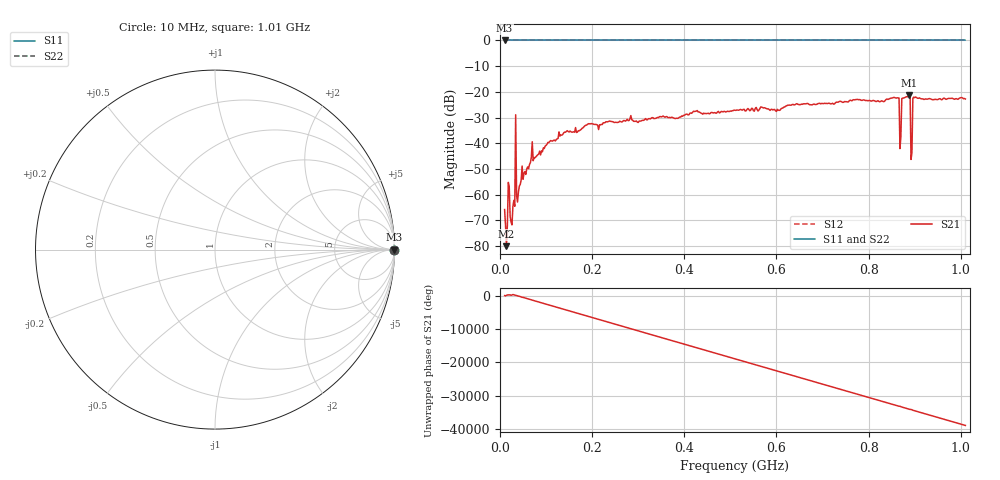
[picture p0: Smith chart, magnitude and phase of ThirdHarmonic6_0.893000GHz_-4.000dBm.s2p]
! 8/16/2025 5:19:50 AM
! C:\ANRITSUVNA\TEMP\TEMP.S2P
! CHANNEL.1
! TR.MEASUREMENT
! RAW.DATA
! RF.CORRECTION.OFF
! AVERAGING.OFF
! IF.BANDWIDTH: 5KHZ
! SWEEPTYPE:  FREQ.SWEEP(Linear)
! Reference Plane Port Info
! PORT:  PORT1  PORT2
! DISTANCE:  0  m  0  m
! TIME:  0  s  0  s
! PHASE.OFFSET:  0  deg.  0  deg.
! LOSS:  0  dB  0  dB
! REF.LOSS:  0  dB  0  dB
! REF.FREQ:  0  Hz  0  Hz
! Power Info
! POWER:  -20  dBm  -20  dBm
! EFF.POWER:  -20  dBm  -20  dBm
! SOURCE.ATTEN:  0  dB  0  dB
! TEST.ATTEN:  0  dB  0  dB
# GHZ S RI R 50.0
! FREQ.GHZ  S11RE  S11IM  S21RE  S21IM  S12RE  S12IM  S22RE  S22IM
!; PortSelection: Port_12
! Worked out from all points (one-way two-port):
!   501 points, 10 MHz to 1.01 GHz, reference 50 ohm
!   highest |S21| = -21.36 dB at 888 MHz (marker M1); lowest = -80.0 dB at 14 MHz (marker M2)
!   lowest |S11| = 0.0 dB at 10 MHz (marker M3)
!   |S11| at or under -10 dB: nowhere
!   |S22| runs from 0.0 to 0.0 dB; largest |S21 - S12| = 1.1
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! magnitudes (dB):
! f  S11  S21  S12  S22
! 10 MHz  0.0  -65.7  0.0  0.0
! 14 MHz  0.0  -80.0  0.0  0.0
! 20 MHz  0.0  -56.7  0.0  0.0
! 28 MHz  0.0  -64.6  0.0  0.0
! 30 MHz  0.0  -62.2  0.0  0.0
! 38 MHz  0.0  -62.8  0.0  0.0
! 40 MHz  0.0  -58.9  0.0  0.0
! 70 MHz  0.0  -39.4  0.0  0.0
! 178 MHz  0.0  -34.2  0.0  0.0
! 344 MHz  0.0  -30.0  0.0  0.0
! 510 MHz  0.0  -27.1  0.0  0.0
! 678 MHz  0.0  -25.0  0.0  0.0
! 844 MHz  0.0  -22.8  0.0  0.0
! 862 MHz  0.0  -22.3  0.0  0.0
! 866 MHz  0.0  -22.4  0.0  0.0
! 872 MHz  0.0  -22.6  0.0  0.0
! 876 MHz  0.0  -22.3  0.0  0.0
! 886 MHz  0.0  -21.9  0.0  0.0
! 888 MHz  0.0  -21.4  0.0  0.0
! 896 MHz  0.0  -22.5  0.0  0.0
! 900 MHz  0.0  -22.2  0.0  0.0
! 1.01 GHz  0.0  -22.8  0.0  0.0
